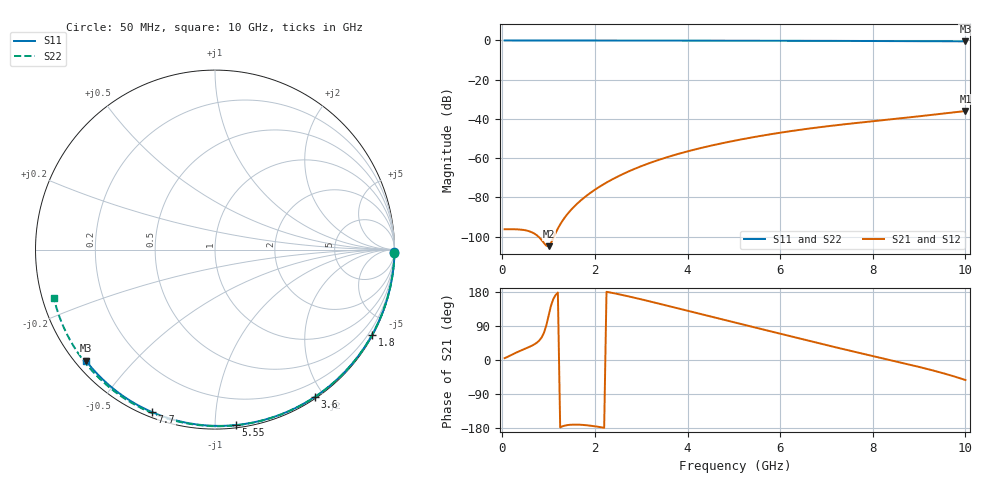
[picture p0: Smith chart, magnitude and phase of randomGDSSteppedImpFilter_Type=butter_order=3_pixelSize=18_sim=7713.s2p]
! freq	dB(S11)	phase(S11)	dB(S12)	phase(S12)
!  dB(S21)	phase(S21)	dB(S22)	phase(S22)
!S-par simulation data
#  GHz  S  DB  R 50
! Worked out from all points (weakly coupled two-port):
!   200 points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, 50 MHz to 10 GHz, reference 50 ohm
!   highest |S21| = -35.98 dB at 10 GHz (marker M1); lowest = -104.9 dB at 1 GHz (marker M2)
!   lowest |S11| = -0.5 dB at 10 GHz (marker M3), VSWR 38.16, Z = 1.49 - j18.5 ohm
!   |S11| at or under -10 dB: nowhere
!   |S22| runs from -0.6 to 0.0 dB; largest |S21 - S12| = 0
!   S11 on the Smith chart (normalised r, x): 50 MHz: open; 1.8 GHz: 0.03, -3.92; 3.6 GHz: 0.02, -1.89; 5.55 GHz: 0.02, -1.12; 7.7 GHz: 0.02, -0.69; 10 GHz: 0.03, -0.37
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0.05  -0.00 -0.8  -96.24 4.9  -96.24 4.9  -0.00 -0.9
0.5  -0.01 -8.1  -96.75 30.1  -96.75 30.1  -0.01 -9.3
1  -0.02 -16.0  -104.85 117.0  -104.85 117.0  -0.02 -18.5
1.75  -0.04 -27.8  -80.44 -171.4  -80.44 -171.4  -0.04 -32.1
1.8  -0.04 -28.6  -79.49 -172.0  -79.49 -172.0  -0.04 -33.0
1.95  -0.04 -30.9  -76.88 -174.1  -76.88 -174.1  -0.05 -35.7
2.1  -0.04 -33.2  -74.55 -176.8  -74.55 -176.8  -0.05 -38.3
2.3  -0.05 -36.3  -71.76 178.8  -71.76 178.8  -0.05 -41.9
2.5  -0.05 -39.4  -69.28 174.0  -69.28 174.0  -0.06 -45.4
2.95  -0.06 -46.2  -64.55 161.6  -64.55 161.6  -0.07 -53.2
3.4  -0.07 -52.9  -60.70 148.2  -60.70 148.2  -0.08 -60.9
3.6  -0.08 -55.8  -59.21 142.1  -59.21 142.1  -0.09 -64.3
4.25  -0.09 -65.2  -55.04 122.2  -55.04 122.2  -0.11 -75.0
5.05  -0.12 -76.5  -50.93 98.0  -50.93 98.0  -0.14 -87.9
5.55  -0.14 -83.3  -48.76 83.0  -48.76 83.0  -0.16 -95.8
6.1  -0.16 -90.6  -46.66 66.4  -46.66 66.4  -0.19 -104.3
6.7  -0.19 -98.5  -44.67 48.3  -44.67 48.3  -0.22 -113.4
7.2  -0.22 -104.9  -43.23 33.5  -43.23 33.5  -0.26 -120.9
7.7  -0.26 -111.1  -41.92 19.0  -41.92 19.0  -0.30 -128.4
8.35  -0.31 -119.2  -40.31 0.5  -40.31 0.5  -0.36 -138.2
9.2  -0.38 -129.6  -38.12 -24.4  -38.12 -24.4  -0.45 -151.0
10  -0.46 -139.3  -35.98 -52.8  -35.98 -52.8  -0.56 -163.4
